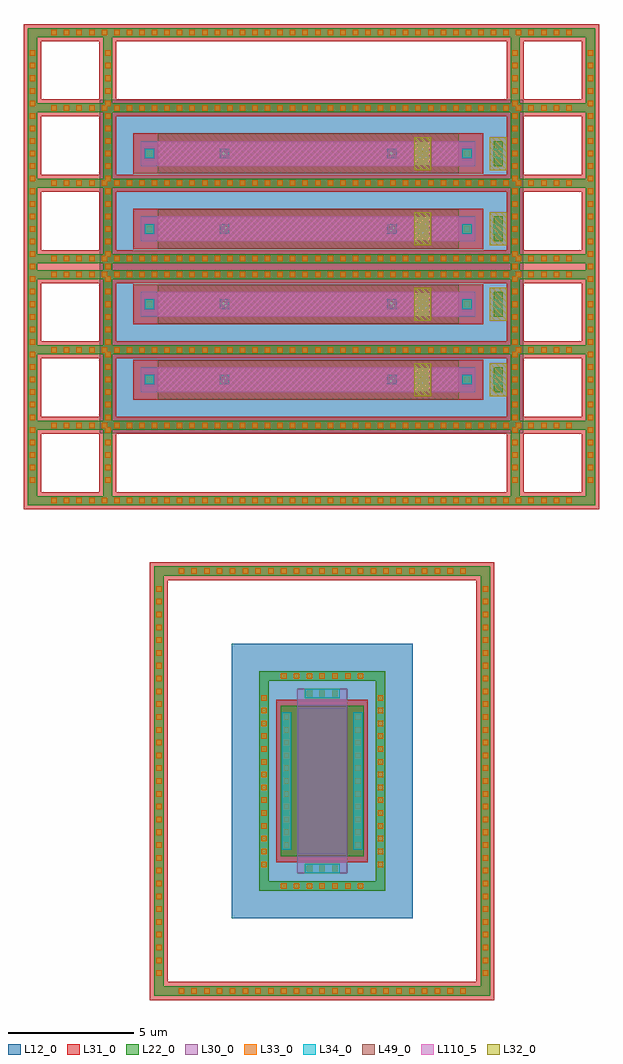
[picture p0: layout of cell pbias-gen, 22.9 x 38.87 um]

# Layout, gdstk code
from math import pi, radians
import gdstk
lib = gdstk.Library(unit=1e-6, precision=1e-09)
def R(c, l, rs):  # rectangles x0, y0, x1, y1
    for r in rs: c.add(gdstk.rectangle(r[:2], r[2:], *l))
def A(c, l, x, y, w, h, nx, ny, dx, dy):  # array of equal rectangles
    R(c, l, [(x+i*dx, y+j*dy, x+i*dx+w, y+j*dy+h) for i in range(nx) for j in range(ny)])
def P(c, l, *ps):  # polygons
    for p in ps: c.add(gdstk.Polygon(p, *l))
L12_0 = (12, 0)
L22_0 = (22, 0)
L30_0 = (30, 0)
L31_0 = (31, 0)
L32_0 = (32, 0)
L33_0 = (33, 0)
L34_0 = (34, 0)
L49_0 = (49, 0)
L110_5 = (110, 5)

pfet = lib.new_cell('pfet')
R(pfet, L12_0, [(-2.42,-2.47,4.8,8.47)])
R(pfet, L22_0, [(-0.46,0,0,6), (0,0,2.38,6), (2.38,0,2.84,6)])
P(pfet, L22_0, [(-1.32,-1.37),(-1.32,6.99),(-0.94,6.99),(-0.94,-0.99),(3.32,-0.99),(3.32,6.99),(-1.32,6.99),(-1.32,7.37),(3.7,7.37),(3.7,-1.37)],
  [(-5.5,-5.55),(-5.5,11.17),(-5.12,11.17),(-5.12,-5.17),(7.5,-5.17),(7.5,11.17),(-5.5,11.17),(-5.5,11.55),(7.88,11.55),(7.88,-5.55)])
R(pfet, L30_0, [(0.19,-0.68,2.19,-0.3), (0.19,-0.3,2.19,6.3), (0.19,6.3,2.19,6.68)])
R(pfet, L31_0, [(-0.63,-0.24,3.01,6.24)])
P(pfet, L31_0, [(-5.67,-5.72),(-5.67,11),(-4.95,11),(-4.95,-5),(7.33,-5),(7.33,11),(-5.67,11),(-5.67,11.72),(8.05,11.72),(8.05,-5.72)])
A(pfet, L33_0, -4.53, -5.47, 0.22, 0.22, 23, 2, 0.51, 16.72)
A(pfet, L33_0, -5.42, -4.76, 0.22, 0.22, 1, 31, 0, 0.51)
A(pfet, L33_0, 7.58, -4.76, 0.22, 0.22, 1, 31, 0, 0.51)
A(pfet, L33_0, -0.45, -1.29, 0.22, 0.22, 7, 2, 0.51, 8.36)
A(pfet, L33_0, 0.57, -0.6, 0.22, 0.22, 3, 2, 0.51, 6.98)
A(pfet, L33_0, -1.24, -0.425, 0.22, 0.22, 1, 14, 0, 0.51)
A(pfet, L33_0, 3.4, -0.425, 0.22, 0.22, 1, 14, 0, 0.51)
A(pfet, L33_0, -0.34, 0.34, 0.22, 0.22, 1, 11, 0, 0.51)
A(pfet, L33_0, 2.5, 0.34, 0.22, 0.22, 1, 11, 0, 0.51)
R(pfet, L34_0, [(0.49,-0.68,1.89,-0.3), (-0.42,0.26,-0.04,5.74), (2.42,0.26,2.8,5.74), (0.49,6.3,1.89,6.68)])

ppolyf_u_resistor = lib.new_cell('ppolyf_u_resistor')
A(ppolyf_u_resistor, L12_0, -2.56, -1.64, 13.86, 4.28, 1, 4, 0, 3)
A(ppolyf_u_resistor, L12_0, 0.44, -1.64, 13.86, 4.28, 1, 4, 0, 3)
A(ppolyf_u_resistor, L22_0, -1.74, 0, 0.36, 1, 1, 4, 0, 3)
A(ppolyf_u_resistor, L22_0, 1.26, 0, 0.36, 1, 1, 4, 0, 3)
P(ppolyf_u_resistor, L22_0, [(-5.42,-4.5),(-5.42,5.14),(-5.06,5.14),(-5.06,-4.14),(13.8,-4.14),(13.8,5.14),(-5.42,5.14),(-5.42,5.5),(14.16,5.5),(14.16,-4.5)],
  [(-2.42,-4.5),(-2.42,5.14),(-2.06,5.14),(-2.06,-4.14),(16.8,-4.14),(16.8,5.14),(-2.42,5.14),(-2.42,5.5),(17.16,5.5),(17.16,-4.5)],
  [(-5.42,-1.5),(-5.42,8.14),(-5.06,8.14),(-5.06,-1.14),(13.8,-1.14),(13.8,8.14),(-5.42,8.14),(-5.42,8.5),(14.16,8.5),(14.16,-1.5)],
  [(-2.42,-1.5),(-2.42,8.14),(-2.06,8.14),(-2.06,-1.14),(16.8,-1.14),(16.8,8.14),(-2.42,8.14),(-2.42,8.5),(17.16,8.5),(17.16,-1.5)],
  [(-5.42,1.5),(-5.42,11.14),(-5.06,11.14),(-5.06,1.86),(13.8,1.86),(13.8,11.14),(-5.42,11.14),(-5.42,11.5),(14.16,11.5),(14.16,1.5)],
  [(-2.42,1.5),(-2.42,11.14),(-2.06,11.14),(-2.06,1.86),(16.8,1.86),(16.8,11.14),(-2.42,11.14),(-2.42,11.5),(17.16,11.5),(17.16,1.5)],
  [(-5.42,4.5),(-5.42,14.14),(-5.06,14.14),(-5.06,4.86),(13.8,4.86),(13.8,14.14),(-5.42,14.14),(-5.42,14.5),(14.16,14.5),(14.16,4.5)],
  [(-2.42,4.5),(-2.42,14.14),(-2.06,14.14),(-2.06,4.86),(16.8,4.86),(16.8,14.14),(-2.42,14.14),(-2.42,14.5),(17.16,14.5),(17.16,4.5)])
A(ppolyf_u_resistor, L30_0, -0.66, 0, 10.32, 1, 1, 4, 0, 3)
A(ppolyf_u_resistor, L30_0, 2.34, 0, 10.32, 1, 1, 4, 0, 3)
A(ppolyf_u_resistor, L31_0, -0.96, -0.3, 10.92, 1.6, 1, 4, 0, 3)
A(ppolyf_u_resistor, L31_0, 2.04, -0.3, 10.92, 1.6, 1, 4, 0, 3)
P(ppolyf_u_resistor, L31_0, [(-5.58,-4.66),(-5.58,4.98),(-4.9,4.98),(-4.9,-3.98),(13.64,-3.98),(13.64,4.98),(-5.58,4.98),(-5.58,5.66),(14.32,5.66),(14.32,-4.66)],
  [(-2.58,-4.66),(-2.58,4.98),(-1.9,4.98),(-1.9,-3.98),(16.64,-3.98),(16.64,4.98),(-2.58,4.98),(-2.58,5.66),(17.32,5.66),(17.32,-4.66)],
  [(-5.58,-1.66),(-5.58,7.98),(-4.9,7.98),(-4.9,-0.98),(13.64,-0.98),(13.64,7.98),(-5.58,7.98),(-5.58,8.66),(14.32,8.66),(14.32,-1.66)],
  [(-2.58,-1.66),(-2.58,7.98),(-1.9,7.98),(-1.9,-0.98),(16.64,-0.98),(16.64,7.98),(-2.58,7.98),(-2.58,8.66),(17.32,8.66),(17.32,-1.66)],
  [(-5.58,1.34),(-5.58,10.98),(-4.9,10.98),(-4.9,2.02),(13.64,2.02),(13.64,10.98),(-5.58,10.98),(-5.58,11.66),(14.32,11.66),(14.32,1.34)],
  [(-2.58,1.34),(-2.58,10.98),(-1.9,10.98),(-1.9,2.02),(16.64,2.02),(16.64,10.98),(-2.58,10.98),(-2.58,11.66),(17.32,11.66),(17.32,1.34)],
  [(-5.58,4.34),(-5.58,13.98),(-4.9,13.98),(-4.9,5.02),(13.64,5.02),(13.64,13.98),(-5.58,13.98),(-5.58,14.66),(14.32,14.66),(14.32,4.34)],
  [(-2.58,4.34),(-2.58,13.98),(-1.9,13.98),(-1.9,5.02),(16.64,5.02),(16.64,13.98),(-2.58,13.98),(-2.58,14.66),(17.32,14.66),(17.32,4.34)])
A(ppolyf_u_resistor, L32_0, -1.9, -0.16, 0.68, 1.32, 1, 4, 0, 3)
A(ppolyf_u_resistor, L32_0, 1.1, -0.16, 0.68, 1.32, 1, 4, 0, 3)
A(ppolyf_u_resistor, L33_0, -4.49, -4.43, 0.22, 0.22, 7, 4, 0.5, 3)
A(ppolyf_u_resistor, L33_0, -1.49, -4.43, 0.22, 0.22, 1, 4, 0, 3)
A(ppolyf_u_resistor, L33_0, 13.01, -4.43, 0.22, 0.22, 1, 4, 0, 3)
A(ppolyf_u_resistor, L33_0, 13.01, -4.43, 0.22, 0.22, 7, 4, 0.5, 3)
A(ppolyf_u_resistor, L33_0, -5.35, -3.61, 0.22, 0.22, 1, 7, 0, 0.5)
A(ppolyf_u_resistor, L33_0, -2.35, -3.61, 0.22, 0.22, 1, 7, 0, 0.5)
A(ppolyf_u_resistor, L33_0, 13.87, -3.61, 0.22, 0.22, 1, 7, 0, 0.5)
A(ppolyf_u_resistor, L33_0, 16.87, -3.61, 0.22, 0.22, 1, 7, 0, 0.5)
A(ppolyf_u_resistor, L33_0, -1.67, 0.39, 0.22, 0.22, 1, 4, 0, 3)
A(ppolyf_u_resistor, L33_0, -0.44, 0.39, 0.22, 0.22, 1, 4, 0, 3)
A(ppolyf_u_resistor, L33_0, 1.33, 0.39, 0.22, 0.22, 1, 4, 0, 3)
A(ppolyf_u_resistor, L33_0, 2.56, 0.39, 0.22, 0.22, 1, 4, 0, 3)
A(ppolyf_u_resistor, L33_0, 9.22, 0.39, 0.22, 0.22, 1, 4, 0, 3)
A(ppolyf_u_resistor, L33_0, 12.22, 0.39, 0.22, 0.22, 1, 4, 0, 3)
A(ppolyf_u_resistor, L33_0, -4.49, 5.21, 0.22, 0.22, 7, 4, 0.5, 3)
A(ppolyf_u_resistor, L33_0, -1.49, 5.21, 0.22, 0.22, 1, 4, 0, 3)
A(ppolyf_u_resistor, L33_0, 13.01, 5.21, 0.22, 0.22, 1, 4, 0, 3)
A(ppolyf_u_resistor, L33_0, 13.01, 5.21, 0.22, 0.22, 7, 4, 0.5, 3)
A(ppolyf_u_resistor, L33_0, -5.35, 10.39, 0.22, 0.22, 1, 7, 0, 0.5)
A(ppolyf_u_resistor, L33_0, -2.35, 10.39, 0.22, 0.22, 1, 7, 0, 0.5)
A(ppolyf_u_resistor, L33_0, 13.87, 10.39, 0.22, 0.22, 1, 7, 0, 0.5)
A(ppolyf_u_resistor, L33_0, 16.87, 10.39, 0.22, 0.22, 1, 7, 0, 0.5)
R(ppolyf_u_resistor, L33_0, [(-0.99,-4.43,-0.77,-4.21), (-0.99,-4.43,-0.77,-4.21), (-0.49,-4.43,-0.27,-4.21), (-0.49,-4.43,-0.27,-4.21), (0.01,-4.43,0.23,-4.21), (0.01,-4.43,0.23,-4.21), (0.51,-4.43,0.73,-4.21), (0.51,-4.43,0.73,-4.21), (1.01,-4.43,1.23,-4.21), (1.01,-4.43,1.23,-4.21), (1.51,-4.43,1.73,-4.21), (1.51,-4.43,1.73,-4.21), (2.01,-4.43,2.23,-4.21), (2.01,-4.43,2.23,-4.21), (2.51,-4.43,2.73,-4.21), (2.51,-4.43,2.73,-4.21), (3.01,-4.43,3.23,-4.21), (3.01,-4.43,3.23,-4.21), (3.51,-4.43,3.73,-4.21), (3.51,-4.43,3.73,-4.21), (4.01,-4.43,4.23,-4.21), (4.01,-4.43,4.23,-4.21), (4.51,-4.43,4.73,-4.21), (4.51,-4.43,4.73,-4.21), (5.01,-4.43,5.23,-4.21), (5.01,-4.43,5.23,-4.21), (5.51,-4.43,5.73,-4.21), (5.51,-4.43,5.73,-4.21), (6.01,-4.43,6.23,-4.21), (6.01,-4.43,6.23,-4.21), (6.51,-4.43,6.73,-4.21), (6.51,-4.43,6.73,-4.21), (7.01,-4.43,7.23,-4.21), (7.01,-4.43,7.23,-4.21), (7.51,-4.43,7.73,-4.21), (7.51,-4.43,7.73,-4.21), (8.01,-4.43,8.23,-4.21), (8.01,-4.43,8.23,-4.21), (8.51,-4.43,8.73,-4.21), (8.51,-4.43,8.73,-4.21), (9.01,-4.43,9.23,-4.21), (9.01,-4.43,9.23,-4.21), (9.51,-4.43,9.73,-4.21), (9.51,-4.43,9.73,-4.21), (10.01,-4.43,10.23,-4.21), (10.01,-4.43,10.23,-4.21), (10.51,-4.43,10.73,-4.21), (10.51,-4.43,10.73,-4.21), (11.01,-4.43,11.23,-4.21), (11.01,-4.43,11.23,-4.21), (11.51,-4.43,11.73,-4.21), (11.51,-4.43,11.73,-4.21), (12.01,-4.43,12.23,-4.21), (12.01,-4.43,12.23,-4.21), (12.51,-4.43,12.73,-4.21), (12.51,-4.43,12.73,-4.21), (-0.99,-1.43,-0.77,-1.21), (-0.99,-1.43,-0.77,-1.21), (-0.49,-1.43,-0.27,-1.21), (-0.49,-1.43,-0.27,-1.21), (0.01,-1.43,0.23,-1.21), (0.01,-1.43,0.23,-1.21), (0.51,-1.43,0.73,-1.21), (0.51,-1.43,0.73,-1.21), (1.01,-1.43,1.23,-1.21), (1.01,-1.43,1.23,-1.21), (1.51,-1.43,1.73,-1.21), (1.51,-1.43,1.73,-1.21), (2.01,-1.43,2.23,-1.21), (2.01,-1.43,2.23,-1.21), (2.51,-1.43,2.73,-1.21), (2.51,-1.43,2.73,-1.21), (3.01,-1.43,3.23,-1.21), (3.01,-1.43,3.23,-1.21), (3.51,-1.43,3.73,-1.21), (3.51,-1.43,3.73,-1.21), (4.01,-1.43,4.23,-1.21), (4.01,-1.43,4.23,-1.21), (4.51,-1.43,4.73,-1.21), (4.51,-1.43,4.73,-1.21), (5.01,-1.43,5.23,-1.21), (5.01,-1.43,5.23,-1.21), (5.51,-1.43,5.73,-1.21), (5.51,-1.43,5.73,-1.21), (6.01,-1.43,6.23,-1.21), (6.01,-1.43,6.23,-1.21), (6.51,-1.43,6.73,-1.21), (6.51,-1.43,6.73,-1.21), (7.01,-1.43,7.23,-1.21), (7.01,-1.43,7.23,-1.21), (7.51,-1.43,7.73,-1.21), (7.51,-1.43,7.73,-1.21), (8.01,-1.43,8.23,-1.21), (8.01,-1.43,8.23,-1.21), (8.51,-1.43,8.73,-1.21), (8.51,-1.43,8.73,-1.21), (9.01,-1.43,9.23,-1.21), (9.01,-1.43,9.23,-1.21), (9.51,-1.43,9.73,-1.21), (9.51,-1.43,9.73,-1.21), (10.01,-1.43,10.23,-1.21), (10.01,-1.43,10.23,-1.21), (10.51,-1.43,10.73,-1.21), (10.51,-1.43,10.73,-1.21), (11.01,-1.43,11.23,-1.21), (11.01,-1.43,11.23,-1.21), (11.51,-1.43,11.73,-1.21), (11.51,-1.43,11.73,-1.21), (12.01,-1.43,12.23,-1.21), (12.01,-1.43,12.23,-1.21), (12.51,-1.43,12.73,-1.21), (12.51,-1.43,12.73,-1.21), (-5.35,-0.61,-5.13,-0.39), (-2.35,-0.61,-2.13,-0.39), (13.87,-0.61,14.09,-0.39), (16.87,-0.61,17.09,-0.39), (-5.35,-0.11,-5.13,0.11), (-5.35,-0.11,-5.13,0.11), (-2.35,-0.11,-2.13,0.11), (-2.35,-0.11,-2.13,0.11), (13.87,-0.11,14.09,0.11), (13.87,-0.11,14.09,0.11), (16.87,-0.11,17.09,0.11), (16.87,-0.11,17.09,0.11), (-5.35,0.39,-5.13,0.61), (-5.35,0.39,-5.13,0.61), (-2.35,0.39,-2.13,0.61), (-2.35,0.39,-2.13,0.61), (13.87,0.39,14.09,0.61), (13.87,0.39,14.09,0.61), (16.87,0.39,17.09,0.61), (16.87,0.39,17.09,0.61), (-5.35,0.89,-5.13,1.11), (-5.35,0.89,-5.13,1.11), (-2.35,0.89,-2.13,1.11), (-2.35,0.89,-2.13,1.11), (13.87,0.89,14.09,1.11), (13.87,0.89,14.09,1.11), (16.87,0.89,17.09,1.11), (16.87,0.89,17.09,1.11), (-5.35,1.39,-5.13,1.61), (-5.35,1.39,-5.13,1.61), (-2.35,1.39,-2.13,1.61), (-2.35,1.39,-2.13,1.61), (13.87,1.39,14.09,1.61), (13.87,1.39,14.09,1.61), (16.87,1.39,17.09,1.61), (16.87,1.39,17.09,1.61), (-0.99,1.57,-0.77,1.79), (-0.99,1.57,-0.77,1.79), (-0.49,1.57,-0.27,1.79), (-0.49,1.57,-0.27,1.79), (0.01,1.57,0.23,1.79), (0.01,1.57,0.23,1.79), (0.51,1.57,0.73,1.79), (0.51,1.57,0.73,1.79), (1.01,1.57,1.23,1.79), (1.01,1.57,1.23,1.79), (1.51,1.57,1.73,1.79), (1.51,1.57,1.73,1.79), (2.01,1.57,2.23,1.79), (2.01,1.57,2.23,1.79), (2.51,1.57,2.73,1.79), (2.51,1.57,2.73,1.79), (3.01,1.57,3.23,1.79), (3.01,1.57,3.23,1.79), (3.51,1.57,3.73,1.79), (3.51,1.57,3.73,1.79), (4.01,1.57,4.23,1.79), (4.01,1.57,4.23,1.79), (4.51,1.57,4.73,1.79), (4.51,1.57,4.73,1.79), (5.01,1.57,5.23,1.79), (5.01,1.57,5.23,1.79), (5.51,1.57,5.73,1.79), (5.51,1.57,5.73,1.79), (6.01,1.57,6.23,1.79), (6.01,1.57,6.23,1.79), (6.51,1.57,6.73,1.79), (6.51,1.57,6.73,1.79), (7.01,1.57,7.23,1.79), (7.01,1.57,7.23,1.79), (7.51,1.57,7.73,1.79), (7.51,1.57,7.73,1.79), (8.01,1.57,8.23,1.79), (8.01,1.57,8.23,1.79), (8.51,1.57,8.73,1.79), (8.51,1.57,8.73,1.79), (9.01,1.57,9.23,1.79), (9.01,1.57,9.23,1.79), (9.51,1.57,9.73,1.79), (9.51,1.57,9.73,1.79), (10.01,1.57,10.23,1.79), (10.01,1.57,10.23,1.79), (10.51,1.57,10.73,1.79), (10.51,1.57,10.73,1.79), (11.01,1.57,11.23,1.79), (11.01,1.57,11.23,1.79), (11.51,1.57,11.73,1.79), (11.51,1.57,11.73,1.79), (12.01,1.57,12.23,1.79), (12.01,1.57,12.23,1.79), (12.51,1.57,12.73,1.79), (12.51,1.57,12.73,1.79), (-5.35,1.89,-5.13,2.11), (-5.35,1.89,-5.13,2.11), (-2.35,1.89,-2.13,2.11), (-2.35,1.89,-2.13,2.11), (13.87,1.89,14.09,2.11), (13.87,1.89,14.09,2.11), (16.87,1.89,17.09,2.11), (16.87,1.89,17.09,2.11), (-5.35,2.39,-5.13,2.61), (-5.35,2.39,-5.13,2.61), (-5.35,2.39,-5.13,2.61), (-2.35,2.39,-2.13,2.61), (-2.35,2.39,-2.13,2.61), (-2.35,2.39,-2.13,2.61), (13.87,2.39,14.09,2.61), (13.87,2.39,14.09,2.61), (13.87,2.39,14.09,2.61), (16.87,2.39,17.09,2.61), (16.87,2.39,17.09,2.61), (16.87,2.39,17.09,2.61), (-5.35,2.89,-5.13,3.11), (-5.35,2.89,-5.13,3.11), (-5.35,2.89,-5.13,3.11), (-2.35,2.89,-2.13,3.11), (-2.35,2.89,-2.13,3.11), (-2.35,2.89,-2.13,3.11), (13.87,2.89,14.09,3.11), (13.87,2.89,14.09,3.11), (13.87,2.89,14.09,3.11), (16.87,2.89,17.09,3.11), (16.87,2.89,17.09,3.11), (16.87,2.89,17.09,3.11), (-5.35,3.39,-5.13,3.61), (-5.35,3.39,-5.13,3.61), (-5.35,3.39,-5.13,3.61), (-2.35,3.39,-2.13,3.61), (-2.35,3.39,-2.13,3.61), (-2.35,3.39,-2.13,3.61), (13.87,3.39,14.09,3.61), (13.87,3.39,14.09,3.61), (13.87,3.39,14.09,3.61), (16.87,3.39,17.09,3.61), (16.87,3.39,17.09,3.61), (16.87,3.39,17.09,3.61), (-5.35,3.89,-5.13,4.11), (-5.35,3.89,-5.13,4.11), (-5.35,3.89,-5.13,4.11), (-2.35,3.89,-2.13,4.11), (-2.35,3.89,-2.13,4.11), (-2.35,3.89,-2.13,4.11), (13.87,3.89,14.09,4.11), (13.87,3.89,14.09,4.11), (13.87,3.89,14.09,4.11), (16.87,3.89,17.09,4.11), (16.87,3.89,17.09,4.11), (16.87,3.89,17.09,4.11), (-5.35,4.39,-5.13,4.61), (-5.35,4.39,-5.13,4.61), (-5.35,4.39,-5.13,4.61), (-2.35,4.39,-2.13,4.61), (-2.35,4.39,-2.13,4.61), (-2.35,4.39,-2.13,4.61), (13.87,4.39,14.09,4.61), (13.87,4.39,14.09,4.61), (13.87,4.39,14.09,4.61), (16.87,4.39,17.09,4.61), (16.87,4.39,17.09,4.61), (16.87,4.39,17.09,4.61), (-0.99,4.57,-0.77,4.79), (-0.99,4.57,-0.77,4.79), (-0.49,4.57,-0.27,4.79), (-0.49,4.57,-0.27,4.79), (0.01,4.57,0.23,4.79), (0.01,4.57,0.23,4.79), (0.51,4.57,0.73,4.79), (0.51,4.57,0.73,4.79), (1.01,4.57,1.23,4.79), (1.01,4.57,1.23,4.79), (1.51,4.57,1.73,4.79), (1.51,4.57,1.73,4.79), (2.01,4.57,2.23,4.79), (2.01,4.57,2.23,4.79), (2.51,4.57,2.73,4.79), (2.51,4.57,2.73,4.79), (3.01,4.57,3.23,4.79), (3.01,4.57,3.23,4.79), (3.51,4.57,3.73,4.79), (3.51,4.57,3.73,4.79), (4.01,4.57,4.23,4.79), (4.01,4.57,4.23,4.79), (4.51,4.57,4.73,4.79), (4.51,4.57,4.73,4.79), (5.01,4.57,5.23,4.79), (5.01,4.57,5.23,4.79), (5.51,4.57,5.73,4.79), (5.51,4.57,5.73,4.79), (6.01,4.57,6.23,4.79), (6.01,4.57,6.23,4.79), (6.51,4.57,6.73,4.79), (6.51,4.57,6.73,4.79), (7.01,4.57,7.23,4.79), (7.01,4.57,7.23,4.79), (7.51,4.57,7.73,4.79), (7.51,4.57,7.73,4.79), (8.01,4.57,8.23,4.79), (8.01,4.57,8.23,4.79), (8.51,4.57,8.73,4.79), (8.51,4.57,8.73,4.79), (9.01,4.57,9.23,4.79), (9.01,4.57,9.23,4.79), (9.51,4.57,9.73,4.79), (9.51,4.57,9.73,4.79), (10.01,4.57,10.23,4.79), (10.01,4.57,10.23,4.79), (10.51,4.57,10.73,4.79), (10.51,4.57,10.73,4.79), (11.01,4.57,11.23,4.79), (11.01,4.57,11.23,4.79), (11.51,4.57,11.73,4.79), (11.51,4.57,11.73,4.79), (12.01,4.57,12.23,4.79), (12.01,4.57,12.23,4.79), (12.51,4.57,12.73,4.79), (12.51,4.57,12.73,4.79), (-5.35,4.89,-5.13,5.11), (-5.35,4.89,-5.13,5.11), (-2.35,4.89,-2.13,5.11), (-2.35,4.89,-2.13,5.11), (13.87,4.89,14.09,5.11), (13.87,4.89,14.09,5.11), (16.87,4.89,17.09,5.11), (16.87,4.89,17.09,5.11), (-0.99,5.21,-0.77,5.43), (-0.99,5.21,-0.77,5.43), (-0.49,5.21,-0.27,5.43), (-0.49,5.21,-0.27,5.43), (0.01,5.21,0.23,5.43), (0.01,5.21,0.23,5.43), (0.51,5.21,0.73,5.43), (0.51,5.21,0.73,5.43), (1.01,5.21,1.23,5.43), (1.01,5.21,1.23,5.43), (1.51,5.21,1.73,5.43), (1.51,5.21,1.73,5.43), (2.01,5.21,2.23,5.43), (2.01,5.21,2.23,5.43), (2.51,5.21,2.73,5.43), (2.51,5.21,2.73,5.43), (3.01,5.21,3.23,5.43), (3.01,5.21,3.23,5.43), (3.51,5.21,3.73,5.43), (3.51,5.21,3.73,5.43), (4.01,5.21,4.23,5.43), (4.01,5.21,4.23,5.43), (4.51,5.21,4.73,5.43), (4.51,5.21,4.73,5.43), (5.01,5.21,5.23,5.43), (5.01,5.21,5.23,5.43), (5.51,5.21,5.73,5.43), (5.51,5.21,5.73,5.43), (6.01,5.21,6.23,5.43), (6.01,5.21,6.23,5.43), (6.51,5.21,6.73,5.43), (6.51,5.21,6.73,5.43), (7.01,5.21,7.23,5.43), (7.01,5.21,7.23,5.43), (7.51,5.21,7.73,5.43), (7.51,5.21,7.73,5.43), (8.01,5.21,8.23,5.43), (8.01,5.21,8.23,5.43), (8.51,5.21,8.73,5.43), (8.51,5.21,8.73,5.43), (9.01,5.21,9.23,5.43), (9.01,5.21,9.23,5.43), (9.51,5.21,9.73,5.43), (9.51,5.21,9.73,5.43), (10.01,5.21,10.23,5.43), (10.01,5.21,10.23,5.43), (10.51,5.21,10.73,5.43), (10.51,5.21,10.73,5.43), (11.01,5.21,11.23,5.43), (11.01,5.21,11.23,5.43), (11.51,5.21,11.73,5.43), (11.51,5.21,11.73,5.43), (12.01,5.21,12.23,5.43), (12.01,5.21,12.23,5.43), (12.51,5.21,12.73,5.43), (12.51,5.21,12.73,5.43), (-5.35,5.39,-5.13,5.61), (-5.35,5.39,-5.13,5.61), (-5.35,5.39,-5.13,5.61), (-2.35,5.39,-2.13,5.61), (-2.35,5.39,-2.13,5.61), (-2.35,5.39,-2.13,5.61), (13.87,5.39,14.09,5.61), (13.87,5.39,14.09,5.61), (13.87,5.39,14.09,5.61), (16.87,5.39,17.09,5.61), (16.87,5.39,17.09,5.61), (16.87,5.39,17.09,5.61), (-5.35,5.89,-5.13,6.11), (-5.35,5.89,-5.13,6.11), (-5.35,5.89,-5.13,6.11), (-2.35,5.89,-2.13,6.11), (-2.35,5.89,-2.13,6.11), (-2.35,5.89,-2.13,6.11), (13.87,5.89,14.09,6.11), (13.87,5.89,14.09,6.11), (13.87,5.89,14.09,6.11), (16.87,5.89,17.09,6.11), (16.87,5.89,17.09,6.11), (16.87,5.89,17.09,6.11), (-5.35,6.39,-5.13,6.61), (-5.35,6.39,-5.13,6.61), (-5.35,6.39,-5.13,6.61), (-2.35,6.39,-2.13,6.61), (-2.35,6.39,-2.13,6.61), (-2.35,6.39,-2.13,6.61), (13.87,6.39,14.09,6.61), (13.87,6.39,14.09,6.61), (13.87,6.39,14.09,6.61), (16.87,6.39,17.09,6.61), (16.87,6.39,17.09,6.61), (16.87,6.39,17.09,6.61), (-5.35,6.89,-5.13,7.11), (-5.35,6.89,-5.13,7.11), (-5.35,6.89,-5.13,7.11), (-2.35,6.89,-2.13,7.11), (-2.35,6.89,-2.13,7.11), (-2.35,6.89,-2.13,7.11), (13.87,6.89,14.09,7.11), (13.87,6.89,14.09,7.11), (13.87,6.89,14.09,7.11), (16.87,6.89,17.09,7.11), (16.87,6.89,17.09,7.11), (16.87,6.89,17.09,7.11), (-5.35,7.39,-5.13,7.61), (-5.35,7.39,-5.13,7.61), (-5.35,7.39,-5.13,7.61), (-2.35,7.39,-2.13,7.61), (-2.35,7.39,-2.13,7.61), (-2.35,7.39,-2.13,7.61), (13.87,7.39,14.09,7.61), (13.87,7.39,14.09,7.61), (13.87,7.39,14.09,7.61), (16.87,7.39,17.09,7.61), (16.87,7.39,17.09,7.61), (16.87,7.39,17.09,7.61), (-5.35,7.89,-5.13,8.11), (-5.35,7.89,-5.13,8.11), (-2.35,7.89,-2.13,8.11), (-2.35,7.89,-2.13,8.11), (13.87,7.89,14.09,8.11), (13.87,7.89,14.09,8.11), (16.87,7.89,17.09,8.11), (16.87,7.89,17.09,8.11), (-0.99,8.21,-0.77,8.43), (-0.99,8.21,-0.77,8.43), (-0.49,8.21,-0.27,8.43), (-0.49,8.21,-0.27,8.43), (0.01,8.21,0.23,8.43), (0.01,8.21,0.23,8.43), (0.51,8.21,0.73,8.43), (0.51,8.21,0.73,8.43), (1.01,8.21,1.23,8.43), (1.01,8.21,1.23,8.43), (1.51,8.21,1.73,8.43), (1.51,8.21,1.73,8.43), (2.01,8.21,2.23,8.43), (2.01,8.21,2.23,8.43), (2.51,8.21,2.73,8.43), (2.51,8.21,2.73,8.43), (3.01,8.21,3.23,8.43), (3.01,8.21,3.23,8.43), (3.51,8.21,3.73,8.43), (3.51,8.21,3.73,8.43), (4.01,8.21,4.23,8.43), (4.01,8.21,4.23,8.43), (4.51,8.21,4.73,8.43), (4.51,8.21,4.73,8.43), (5.01,8.21,5.23,8.43), (5.01,8.21,5.23,8.43), (5.51,8.21,5.73,8.43), (5.51,8.21,5.73,8.43), (6.01,8.21,6.23,8.43), (6.01,8.21,6.23,8.43), (6.51,8.21,6.73,8.43), (6.51,8.21,6.73,8.43), (7.01,8.21,7.23,8.43), (7.01,8.21,7.23,8.43), (7.51,8.21,7.73,8.43), (7.51,8.21,7.73,8.43), (8.01,8.21,8.23,8.43), (8.01,8.21,8.23,8.43), (8.51,8.21,8.73,8.43), (8.51,8.21,8.73,8.43), (9.01,8.21,9.23,8.43), (9.01,8.21,9.23,8.43), (9.51,8.21,9.73,8.43), (9.51,8.21,9.73,8.43), (10.01,8.21,10.23,8.43), (10.01,8.21,10.23,8.43), (10.51,8.21,10.73,8.43), (10.51,8.21,10.73,8.43), (11.01,8.21,11.23,8.43), (11.01,8.21,11.23,8.43), (11.51,8.21,11.73,8.43), (11.51,8.21,11.73,8.43), (12.01,8.21,12.23,8.43), (12.01,8.21,12.23,8.43), (12.51,8.21,12.73,8.43), (12.51,8.21,12.73,8.43), (-5.35,8.39,-5.13,8.61), (-5.35,8.39,-5.13,8.61), (-2.35,8.39,-2.13,8.61), (-2.35,8.39,-2.13,8.61), (13.87,8.39,14.09,8.61), (13.87,8.39,14.09,8.61), (16.87,8.39,17.09,8.61), (16.87,8.39,17.09,8.61), (-5.35,8.89,-5.13,9.11), (-5.35,8.89,-5.13,9.11), (-2.35,8.89,-2.13,9.11), (-2.35,8.89,-2.13,9.11), (13.87,8.89,14.09,9.11), (13.87,8.89,14.09,9.11), (16.87,8.89,17.09,9.11), (16.87,8.89,17.09,9.11), (-5.35,9.39,-5.13,9.61), (-5.35,9.39,-5.13,9.61), (-2.35,9.39,-2.13,9.61), (-2.35,9.39,-2.13,9.61), (13.87,9.39,14.09,9.61), (13.87,9.39,14.09,9.61), (16.87,9.39,17.09,9.61), (16.87,9.39,17.09,9.61), (-5.35,9.89,-5.13,10.11), (-5.35,9.89,-5.13,10.11), (-2.35,9.89,-2.13,10.11), (-2.35,9.89,-2.13,10.11), (13.87,9.89,14.09,10.11), (13.87,9.89,14.09,10.11), (16.87,9.89,17.09,10.11), (16.87,9.89,17.09,10.11), (-5.35,10.39,-5.13,10.61), (-2.35,10.39,-2.13,10.61), (13.87,10.39,14.09,10.61), (16.87,10.39,17.09,10.61), (-0.99,11.21,-0.77,11.43), (-0.99,11.21,-0.77,11.43), (-0.49,11.21,-0.27,11.43), (-0.49,11.21,-0.27,11.43), (0.01,11.21,0.23,11.43), (0.01,11.21,0.23,11.43), (0.51,11.21,0.73,11.43), (0.51,11.21,0.73,11.43), (1.01,11.21,1.23,11.43), (1.01,11.21,1.23,11.43), (1.51,11.21,1.73,11.43), (1.51,11.21,1.73,11.43), (2.01,11.21,2.23,11.43), (2.01,11.21,2.23,11.43), (2.51,11.21,2.73,11.43), (2.51,11.21,2.73,11.43), (3.01,11.21,3.23,11.43), (3.01,11.21,3.23,11.43), (3.51,11.21,3.73,11.43), (3.51,11.21,3.73,11.43), (4.01,11.21,4.23,11.43), (4.01,11.21,4.23,11.43), (4.51,11.21,4.73,11.43), (4.51,11.21,4.73,11.43), (5.01,11.21,5.23,11.43), (5.01,11.21,5.23,11.43), (5.51,11.21,5.73,11.43), (5.51,11.21,5.73,11.43), (6.01,11.21,6.23,11.43), (6.01,11.21,6.23,11.43), (6.51,11.21,6.73,11.43), (6.51,11.21,6.73,11.43), (7.01,11.21,7.23,11.43), (7.01,11.21,7.23,11.43), (7.51,11.21,7.73,11.43), (7.51,11.21,7.73,11.43), (8.01,11.21,8.23,11.43), (8.01,11.21,8.23,11.43), (8.51,11.21,8.73,11.43), (8.51,11.21,8.73,11.43), (9.01,11.21,9.23,11.43), (9.01,11.21,9.23,11.43), (9.51,11.21,9.73,11.43), (9.51,11.21,9.73,11.43), (10.01,11.21,10.23,11.43), (10.01,11.21,10.23,11.43), (10.51,11.21,10.73,11.43), (10.51,11.21,10.73,11.43), (11.01,11.21,11.23,11.43), (11.01,11.21,11.23,11.43), (11.51,11.21,11.73,11.43), (11.51,11.21,11.73,11.43), (12.01,11.21,12.23,11.43), (12.01,11.21,12.23,11.43), (12.51,11.21,12.73,11.43), (12.51,11.21,12.73,11.43), (-0.99,14.21,-0.77,14.43), (-0.99,14.21,-0.77,14.43), (-0.49,14.21,-0.27,14.43), (-0.49,14.21,-0.27,14.43), (0.01,14.21,0.23,14.43), (0.01,14.21,0.23,14.43), (0.51,14.21,0.73,14.43), (0.51,14.21,0.73,14.43), (1.01,14.21,1.23,14.43), (1.01,14.21,1.23,14.43), (1.51,14.21,1.73,14.43), (1.51,14.21,1.73,14.43), (2.01,14.21,2.23,14.43), (2.01,14.21,2.23,14.43), (2.51,14.21,2.73,14.43), (2.51,14.21,2.73,14.43), (3.01,14.21,3.23,14.43), (3.01,14.21,3.23,14.43), (3.51,14.21,3.73,14.43), (3.51,14.21,3.73,14.43), (4.01,14.21,4.23,14.43), (4.01,14.21,4.23,14.43), (4.51,14.21,4.73,14.43), (4.51,14.21,4.73,14.43), (5.01,14.21,5.23,14.43), (5.01,14.21,5.23,14.43), (5.51,14.21,5.73,14.43), (5.51,14.21,5.73,14.43), (6.01,14.21,6.23,14.43), (6.01,14.21,6.23,14.43), (6.51,14.21,6.73,14.43), (6.51,14.21,6.73,14.43), (7.01,14.21,7.23,14.43), (7.01,14.21,7.23,14.43), (7.51,14.21,7.73,14.43), (7.51,14.21,7.73,14.43), (8.01,14.21,8.23,14.43), (8.01,14.21,8.23,14.43), (8.51,14.21,8.73,14.43), (8.51,14.21,8.73,14.43), (9.01,14.21,9.23,14.43), (9.01,14.21,9.23,14.43), (9.51,14.21,9.73,14.43), (9.51,14.21,9.73,14.43), (10.01,14.21,10.23,14.43), (10.01,14.21,10.23,14.43), (10.51,14.21,10.73,14.43), (10.51,14.21,10.73,14.43), (11.01,14.21,11.23,14.43), (11.01,14.21,11.23,14.43), (11.51,14.21,11.73,14.43), (11.51,14.21,11.73,14.43), (12.01,14.21,12.23,14.43), (12.01,14.21,12.23,14.43), (12.51,14.21,12.73,14.43), (12.51,14.21,12.73,14.43)])
A(ppolyf_u_resistor, L34_0, -1.75, 0.309, 0.38, 0.382, 1, 4, 0, 3)
A(ppolyf_u_resistor, L34_0, -0.52, 0.309, 0.38, 0.382, 1, 4, 0, 3)
A(ppolyf_u_resistor, L34_0, 1.25, 0.309, 0.38, 0.382, 1, 4, 0, 3)
A(ppolyf_u_resistor, L34_0, 2.48, 0.309, 0.38, 0.382, 1, 4, 0, 3)
A(ppolyf_u_resistor, L34_0, 9.14, 0.309, 0.38, 0.382, 1, 4, 0, 3)
A(ppolyf_u_resistor, L34_0, 12.14, 0.309, 0.38, 0.382, 1, 4, 0, 3)
A(ppolyf_u_resistor, L49_0, 0, -0.28, 9, 1.56, 1, 4, 0, 3)
A(ppolyf_u_resistor, L49_0, 3, -0.28, 9, 1.56, 1, 4, 0, 3)
A(ppolyf_u_resistor, L110_5, 0, 0, 9, 1, 1, 4, 0, 3)
A(ppolyf_u_resistor, L110_5, 3, 0, 9, 1, 1, 4, 0, 3)

pbias_gen = lib.new_cell('pbias-gen')
r = gdstk.Reference(pfet, (-1.92,-1.75), rotation=pi, x_reflection=True); r.repetition = gdstk.Repetition(4, 8, v1=(0,0), v2=(0,0)); pbias_gen.add(r)
r = gdstk.Reference(ppolyf_u_resistor, (2.335,16.735), rotation=pi, x_reflection=True); r.repetition = gdstk.Repetition(1, 1, v1=(0,0), v2=(0,0)); pbias_gen.add(r)

lib.write_gds('pbias-gen.gds')
